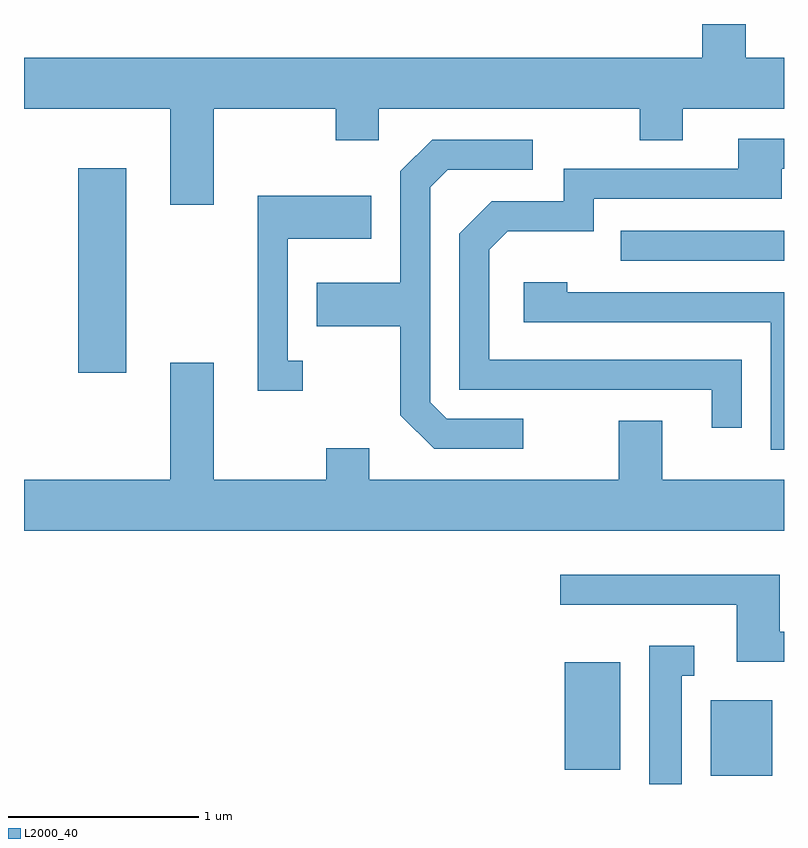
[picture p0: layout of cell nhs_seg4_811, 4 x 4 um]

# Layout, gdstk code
import gdstk
lib = gdstk.Library(unit=1e-6, precision=1e-09)
def R(c, l, rs):  # rectangles x0, y0, x1, y1
    for r in rs: c.add(gdstk.rectangle(r[:2], r[2:], *l))
def P(c, l, *ps):  # polygons
    for p in ps: c.add(gdstk.Polygon(p, *l))
L2000_40 = (2000, 40)

nhs_seg4_811 = lib.new_cell('nhs_seg4_811')
R(nhs_seg4_811, L2000_40, [(211.226,1380.026,211.549,1380.424), (210.456,1380.056,210.749,1380.624), (207.896,1382.146,208.149,1383.224), (210.753,1382.736,211.611,1382.894)])
P(nhs_seg4_811, L2000_40, [(208.609,1383.536),(209.251,1383.536),(209.251,1383.371),(209.479,1383.371),(209.479,1383.536),(210.851,1383.536),(210.851,1383.371),(211.079,1383.371),(211.079,1383.536),(211.611,1383.536),(211.611,1383.804),(211.409,1383.804),(211.409,1383.982),(211.181,1383.982),(211.181,1383.804),(207.611,1383.804),(207.611,1383.536),(208.381,1383.536),(208.381,1383.031),(208.609,1383.031)],
  [(211.389,1382.214),(210.059,1382.214),(210.059,1382.794),(210.157,1382.891),(210.609,1382.891),(210.609,1383.061),(211.599,1383.061),(211.599,1383.221),(211.611,1383.221),(211.611,1383.379),(211.371,1383.379),(211.371,1383.219),(210.451,1383.219),(210.451,1383.049),(210.074,1383.049),(209.901,1382.877),(209.901,1382.056),(211.231,1382.056),(211.231,1381.858),(211.389,1381.858)],
  [(210.238,1381.904),(209.837,1381.904),(209.749,1381.992),(209.749,1383.124),(209.842,1383.216),(210.288,1383.216),(210.288,1383.374),(209.759,1383.374),(209.591,1383.207),(209.591,1382.619),(209.151,1382.619),(209.151,1382.391),(209.591,1382.391),(209.591,1381.924),(209.769,1381.746),(210.238,1381.746)],
  [(209.078,1382.209),(208.999,1382.209),(208.999,1382.851),(209.439,1382.851),(209.439,1383.079),(208.841,1383.079),(208.841,1382.051),(209.078,1382.051)],
  [(211.611,1382.569),(210.469,1382.569),(210.469,1382.624),(210.241,1382.624),(210.241,1382.411),(211.541,1382.411),(211.541,1381.741),(211.611,1381.741)],
  [(211.611,1381.584),(210.969,1381.584),(210.969,1381.894),(210.741,1381.894),(210.741,1381.584),(209.429,1381.584),(209.429,1381.749),(209.201,1381.749),(209.201,1381.584),(208.609,1381.584),(208.609,1382.199),(208.381,1382.199),(208.381,1381.584),(207.611,1381.584),(207.611,1381.316),(211.611,1381.316)],
  [(211.611,1380.784),(211.589,1380.784),(211.589,1381.084),(210.433,1381.084),(210.433,1380.926),(211.361,1380.926),(211.361,1380.626),(211.611,1380.626)],
  [(211.074,1380.551),(211.138,1380.551),(211.138,1380.709),(210.901,1380.709),(210.901,1379.982),(211.074,1379.982)])

lib.write_gds('nhs_seg4_811.gds')
